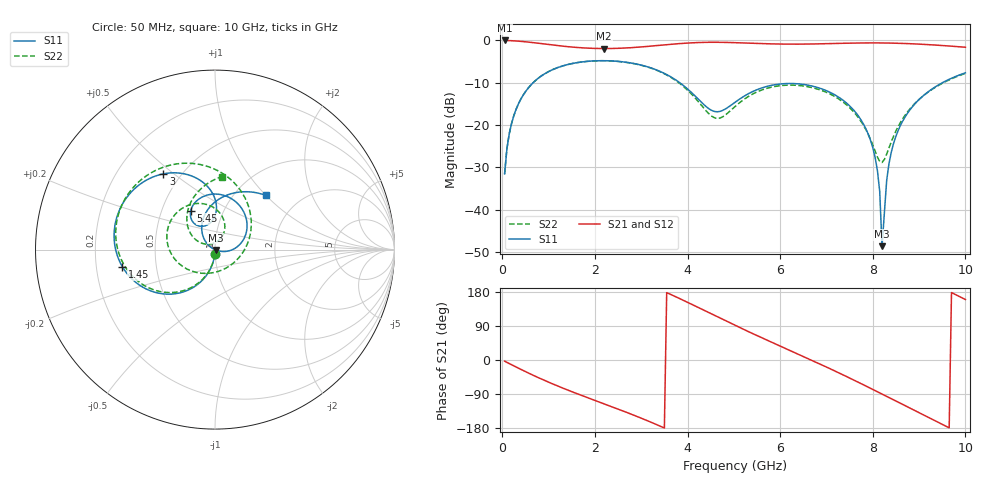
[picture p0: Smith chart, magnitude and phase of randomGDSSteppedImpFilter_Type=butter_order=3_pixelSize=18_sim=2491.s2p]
! freq	dB(S11)	phase(S11)	dB(S12)	phase(S12)
!  dB(S21)	phase(S21)	dB(S22)	phase(S22)
!S-par simulation data
#  GHz  S  DB  R 50
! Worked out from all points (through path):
!   200 points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, 50 MHz to 10 GHz, reference 50 ohm
!   highest |S21| = -0.01 dB at 50 MHz (marker M1); lowest = -1.9 dB at 2.2 GHz (marker M2)
!   group delay of S21, straight-line fit = 154 ps
!   lowest |S11| = -48.7 dB at 8.2 GHz (marker M3), VSWR 1.01, Z = 50.3 - j0.207 ohm
!   |S11| at or under -10 dB: start of sweep to 666.2 MHz; 3.832 GHz to 9.504 GHz (5.673 GHz wide, 85.1 % of centre)
!   |S22| runs from -31.6 to -4.8 dB; largest |S21 - S12| = 0
!   S11 on the Smith chart (normalised r, x): 50 MHz: 1.00, -0.05; 1.45 GHz: 0.31, -0.08; 3 GHz: 0.40, +0.46; 5.45 GHz: 0.70, +0.32; 10 GHz: 1.37, +1.00
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0.05  -31.57 -93.1  -0.01 -3.2  -0.01 -3.2  -31.57 -93.2
0.2  -19.64 -102.6  -0.07 -12.5  -0.07 -12.5  -19.64 -103.1
0.45  -12.95 -117.6  -0.26 -27.7  -0.26 -27.7  -12.96 -118.7
1.45  -5.60 -169.5  -1.51 -81.1  -1.51 -81.1  -5.61 -173.7
1.75  -5.04 177.1  -1.77 -95.2  -1.77 -95.2  -5.05 171.6
2.2  -4.79 157.8  -1.92 -115.8  -1.92 -115.8  -4.80 150.0
3  -5.84 124.3  -1.54 -153.5  -1.54 -153.5  -5.87 108.9
3.4  -7.29 107.9  -1.15 -174.1  -1.15 -174.1  -7.36 84.8
4.15  -12.99 88.0  -0.53 143.4  -0.53 143.4  -13.44 22.9
4.6  -16.84 107.8  -0.43 116.6  -0.43 116.6  -18.37 -52.7
5.05  -14.44 128.7  -0.53 90.1  -0.53 90.1  -15.41 -133.0
5.45  -11.88 122.0  -0.69 67.3  -0.69 67.3  -12.43 -171.3
6.7  -10.81 65.0  -0.84 -1.6  -0.84 -1.6  -11.19 111.3
7.3  -13.69 31.3  -0.69 -35.8  -0.69 -35.8  -14.10 80.1
7.9  -22.11 -5.1  -0.59 -71.5  -0.59 -71.5  -22.17 62.1
8.1  -30.75 -18.2  -0.59 -83.7  -0.59 -83.7  -27.57 82.0
8.15  -35.72 -22.2  -0.59 -86.7  -0.59 -86.7  -28.62 95.4
8.2  -48.67 -33.9  -0.60 -89.8  -0.60 -89.8  -28.86 111.6
8.35  -29.14 148.3  -0.62 -99.0  -0.62 -99.0  -25.40 146.0
8.85  -15.76 116.3  -0.79 -129.8  -0.79 -129.8  -15.59 146.1
9.45  -10.33 79.4  -1.16 -166.8  -1.16 -166.8  -10.45 116.0
10  -7.66 47.0  -1.61 159.6  -1.61 159.6  -7.79 84.7
